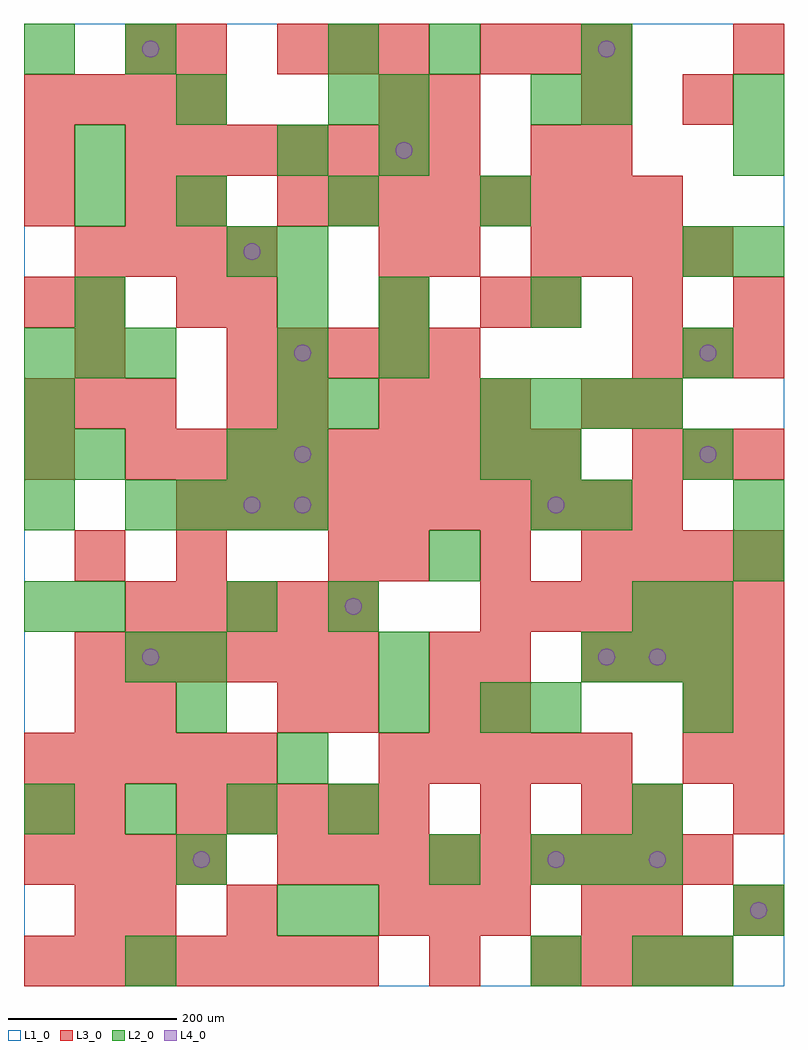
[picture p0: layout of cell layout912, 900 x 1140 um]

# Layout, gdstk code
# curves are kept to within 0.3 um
import gdstk
lib = gdstk.Library(unit=1e-6, precision=1e-09)
def R(c, l, rs):  # rectangles x0, y0, x1, y1
    for r in rs: c.add(gdstk.rectangle(r[:2], r[2:], *l))
def A(c, l, x, y, w, h, nx, ny, dx, dy):  # array of equal rectangles
    R(c, l, [(x+i*dx, y+j*dy, x+i*dx+w, y+j*dy+h) for i in range(nx) for j in range(ny)])
def P(c, l, *ps):  # polygons
    for p in ps: c.add(gdstk.Polygon(p, *l))
L1_0 = (1, 0)
L2_0 = (2, 0)
L3_0 = (3, 0)
L4_0 = (4, 0)

layout912 = lib.new_cell('layout912')
R(layout912, L1_0, [(0,0,900,1140)])
A(layout912, L2_0, 720, 0, 60, 60, 1, 3, 0, 180)
A(layout912, L2_0, 600, 120, 60, 60, 3, 1, 60, 0)
A(layout912, L2_0, 0, 180, 60, 60, 4, 1, 120, 0)
A(layout912, L2_0, 780, 300, 60, 60, 1, 3, 0, 60)
A(layout912, L2_0, 180, 360, 60, 60, 3, 1, 240, 0)
A(layout912, L2_0, 60, 420, 60, 60, 1, 3, 0, 180)
A(layout912, L2_0, 0, 540, 60, 60, 1, 3, 0, 60)
A(layout912, L2_0, 120, 540, 60, 60, 4, 1, 60, 0)
A(layout912, L2_0, 300, 600, 60, 60, 1, 5, 0, 60)
A(layout912, L2_0, 780, 600, 60, 60, 1, 3, 0, 120)
A(layout912, L2_0, 540, 660, 60, 60, 4, 1, 60, 0)
A(layout912, L2_0, 0, 720, 60, 60, 3, 1, 60, 0)
A(layout912, L2_0, 180, 900, 60, 60, 3, 1, 180, 0)
R(layout912, L2_0, [(120,0,180,60), (600,0,660,60), (780,0,840,60), (300,60,360,120), (360,60,420,120), (840,60,900,120), (180,120,240,180), (480,120,540,180), (300,240,360,300), (180,300,240,360), (420,300,480,360), (540,300,600,360), (600,300,660,360), (120,360,180,420), (0,420,60,480), (240,420,300,480), (360,420,420,480), (720,420,780,480), (480,480,540,540), (840,480,900,540), (600,540,660,600), (660,540,720,600), (840,540,900,600), (240,600,300,660), (540,600,600,660), (600,600,660,660), (360,660,420,720), (420,720,480,780), (420,780,480,840), (600,780,660,840), (240,840,300,900), (840,840,900,900), (60,900,120,960), (60,960,120,1020), (300,960,360,1020), (420,960,480,1020), (840,960,900,1020), (180,1020,240,1080), (360,1020,420,1080), (420,1020,480,1080), (600,1020,660,1080), (660,1020,720,1080), (840,1020,900,1080), (0,1080,60,1140), (120,1080,180,1140), (360,1080,420,1140), (480,1080,540,1140), (660,1080,720,1140)])
A(layout912, L3_0, 0, 0, 60, 60, 7, 1, 60, 0)
A(layout912, L3_0, 600, 0, 60, 60, 4, 2, 60, 840)
A(layout912, L3_0, 60, 60, 60, 60, 1, 3, 0, 120)
A(layout912, L3_0, 420, 60, 60, 60, 3, 2, 60, 600)
A(layout912, L3_0, 0, 120, 60, 60, 4, 2, 60, 900)
A(layout912, L3_0, 300, 120, 60, 60, 9, 1, 60, 0)
A(layout912, L3_0, 180, 180, 60, 60, 5, 1, 60, 0)
A(layout912, L3_0, 840, 180, 60, 60, 1, 3, 0, 60)
A(layout912, L3_0, 0, 240, 60, 60, 5, 1, 60, 0)
A(layout912, L3_0, 420, 240, 60, 60, 5, 1, 60, 0)
A(layout912, L3_0, 60, 360, 60, 60, 6, 1, 60, 0)
A(layout912, L3_0, 660, 360, 60, 60, 4, 1, 60, 0)
A(layout912, L3_0, 120, 420, 60, 60, 5, 1, 60, 0)
A(layout912, L3_0, 540, 420, 60, 60, 6, 1, 60, 0)
A(layout912, L3_0, 420, 480, 60, 60, 3, 1, 120, 0)
A(layout912, L3_0, 720, 480, 60, 60, 3, 3, 60, 120)
A(layout912, L3_0, 180, 540, 60, 60, 10, 1, 60, 0)
A(layout912, L3_0, 120, 600, 60, 60, 9, 1, 60, 0)
A(layout912, L3_0, 0, 660, 60, 60, 3, 1, 60, 0)
A(layout912, L3_0, 240, 720, 60, 60, 5, 1, 60, 0)
A(layout912, L3_0, 600, 780, 60, 60, 3, 1, 120, 0)
A(layout912, L3_0, 60, 840, 60, 60, 4, 1, 60, 0)
A(layout912, L3_0, 300, 900, 60, 60, 8, 1, 60, 0)
A(layout912, L3_0, 120, 960, 60, 60, 7, 1, 60, 0)
A(layout912, L3_0, 300, 1080, 60, 60, 3, 1, 60, 0)
A(layout912, L3_0, 540, 1080, 60, 60, 3, 1, 60, 0)
R(layout912, L3_0, [(480,0,540,60), (120,60,180,120), (240,60,300,120), (660,60,720,120), (720,60,780,120), (840,60,900,120), (0,180,60,240), (540,180,600,240), (660,180,720,240), (720,180,780,240), (780,240,840,300), (120,300,180,360), (300,300,360,360), (360,300,420,360), (480,300,540,360), (540,300,600,360), (780,300,840,360), (480,360,540,420), (540,360,600,420), (60,480,120,540), (180,480,240,540), (360,480,420,540), (0,600,60,660), (240,660,300,720), (300,660,360,720), (660,660,720,720), (720,660,780,720), (60,720,120,780), (0,780,60,840), (60,780,120,840), (180,780,240,840), (240,780,300,840), (420,780,480,840), (540,780,600,840), (420,840,480,900), (480,840,540,900), (0,900,60,960), (120,900,180,960), (180,900,240,960), (0,960,60,1020), (600,960,660,1020), (660,960,720,1020), (420,1020,480,1080), (480,1020,540,1080), (660,1020,720,1080), (780,1020,840,1080), (120,1080,180,1140), (180,1080,240,1140), (840,1080,900,1140)])
P(layout912, L4_0, [(160,390),(159.239,393.827),(157.071,397.071),(153.827,399.239),(150,400),(146.173,399.239),(142.929,397.071),(140.761,393.827),(140,390),(140.761,386.173),(142.929,382.929),(146.173,380.761),(150,380),(153.827,380.761),(157.071,382.929),(159.239,386.173)],
  [(160,1110),(159.239,1113.827),(157.071,1117.071),(153.827,1119.239),(150,1120),(146.173,1119.239),(142.929,1117.071),(140.761,1113.827),(140,1110),(140.761,1106.173),(142.929,1102.929),(146.173,1100.761),(150,1100),(153.827,1100.761),(157.071,1102.929),(159.239,1106.173)],
  [(220,150),(219.239,153.827),(217.071,157.071),(213.827,159.239),(210,160),(206.173,159.239),(202.929,157.071),(200.761,153.827),(200,150),(200.761,146.173),(202.929,142.929),(206.173,140.761),(210,140),(213.827,140.761),(217.071,142.929),(219.239,146.173)],
  [(280,570),(279.239,573.827),(277.071,577.071),(273.827,579.239),(270,580),(266.173,579.239),(262.929,577.071),(260.761,573.827),(260,570),(260.761,566.173),(262.929,562.929),(266.173,560.761),(270,560),(273.827,560.761),(277.071,562.929),(279.239,566.173)],
  [(280,870),(279.239,873.827),(277.071,877.071),(273.827,879.239),(270,880),(266.173,879.239),(262.929,877.071),(260.761,873.827),(260,870),(260.761,866.173),(262.929,862.929),(266.173,860.761),(270,860),(273.827,860.761),(277.071,862.929),(279.239,866.173)],
  [(340,570),(339.239,573.827),(337.071,577.071),(333.827,579.239),(330,580),(326.173,579.239),(322.929,577.071),(320.761,573.827),(320,570),(320.761,566.173),(322.929,562.929),(326.173,560.761),(330,560),(333.827,560.761),(337.071,562.929),(339.239,566.173)],
  [(340,630),(339.239,633.827),(337.071,637.071),(333.827,639.239),(330,640),(326.173,639.239),(322.929,637.071),(320.761,633.827),(320,630),(320.761,626.173),(322.929,622.929),(326.173,620.761),(330,620),(333.827,620.761),(337.071,622.929),(339.239,626.173)],
  [(340,750),(339.239,753.827),(337.071,757.071),(333.827,759.239),(330,760),(326.173,759.239),(322.929,757.071),(320.761,753.827),(320,750),(320.761,746.173),(322.929,742.929),(326.173,740.761),(330,740),(333.827,740.761),(337.071,742.929),(339.239,746.173)],
  [(400,450),(399.239,453.827),(397.071,457.071),(393.827,459.239),(390,460),(386.173,459.239),(382.929,457.071),(380.761,453.827),(380,450),(380.761,446.173),(382.929,442.929),(386.173,440.761),(390,440),(393.827,440.761),(397.071,442.929),(399.239,446.173)],
  [(460,990),(459.239,993.827),(457.071,997.071),(453.827,999.239),(450,1000),(446.173,999.239),(442.929,997.071),(440.761,993.827),(440,990),(440.761,986.173),(442.929,982.929),(446.173,980.761),(450,980),(453.827,980.761),(457.071,982.929),(459.239,986.173)],
  [(640,150),(639.239,153.827),(637.071,157.071),(633.827,159.239),(630,160),(626.173,159.239),(622.929,157.071),(620.761,153.827),(620,150),(620.761,146.173),(622.929,142.929),(626.173,140.761),(630,140),(633.827,140.761),(637.071,142.929),(639.239,146.173)],
  [(640,570),(639.239,573.827),(637.071,577.071),(633.827,579.239),(630,580),(626.173,579.239),(622.929,577.071),(620.761,573.827),(620,570),(620.761,566.173),(622.929,562.929),(626.173,560.761),(630,560),(633.827,560.761),(637.071,562.929),(639.239,566.173)],
  [(700,390),(699.239,393.827),(697.071,397.071),(693.827,399.239),(690,400),(686.173,399.239),(682.929,397.071),(680.761,393.827),(680,390),(680.761,386.173),(682.929,382.929),(686.173,380.761),(690,380),(693.827,380.761),(697.071,382.929),(699.239,386.173)],
  [(700,1110),(699.239,1113.827),(697.071,1117.071),(693.827,1119.239),(690,1120),(686.173,1119.239),(682.929,1117.071),(680.761,1113.827),(680,1110),(680.761,1106.173),(682.929,1102.929),(686.173,1100.761),(690,1100),(693.827,1100.761),(697.071,1102.929),(699.239,1106.173)],
  [(760,150),(759.239,153.827),(757.071,157.071),(753.827,159.239),(750,160),(746.173,159.239),(742.929,157.071),(740.761,153.827),(740,150),(740.761,146.173),(742.929,142.929),(746.173,140.761),(750,140),(753.827,140.761),(757.071,142.929),(759.239,146.173)],
  [(760,390),(759.239,393.827),(757.071,397.071),(753.827,399.239),(750,400),(746.173,399.239),(742.929,397.071),(740.761,393.827),(740,390),(740.761,386.173),(742.929,382.929),(746.173,380.761),(750,380),(753.827,380.761),(757.071,382.929),(759.239,386.173)],
  [(820,630),(819.239,633.827),(817.071,637.071),(813.827,639.239),(810,640),(806.173,639.239),(802.929,637.071),(800.761,633.827),(800,630),(800.761,626.173),(802.929,622.929),(806.173,620.761),(810,620),(813.827,620.761),(817.071,622.929),(819.239,626.173)],
  [(820,750),(819.239,753.827),(817.071,757.071),(813.827,759.239),(810,760),(806.173,759.239),(802.929,757.071),(800.761,753.827),(800,750),(800.761,746.173),(802.929,742.929),(806.173,740.761),(810,740),(813.827,740.761),(817.071,742.929),(819.239,746.173)],
  [(880,90),(879.239,93.827),(877.071,97.071),(873.827,99.239),(870,100),(866.173,99.239),(862.929,97.071),(860.761,93.827),(860,90),(860.761,86.173),(862.929,82.929),(866.173,80.761),(870,80),(873.827,80.761),(877.071,82.929),(879.239,86.173)])

lib.write_gds('layout912.gds')
